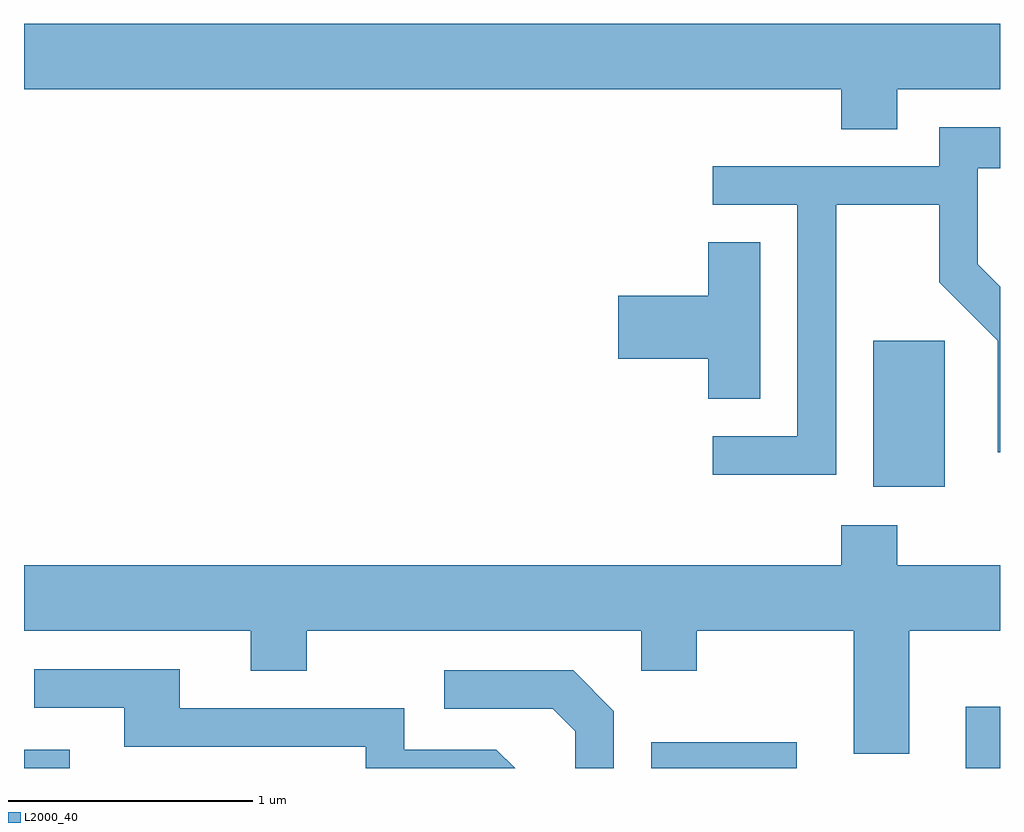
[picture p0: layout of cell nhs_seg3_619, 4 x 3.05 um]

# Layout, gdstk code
import gdstk
lib = gdstk.Library(unit=1e-6, precision=1e-09)
def R(c, l, rs):  # rectangles x0, y0, x1, y1
    for r in rs: c.add(gdstk.rectangle(r[:2], r[2:], *l))
def P(c, l, *ps):  # polygons
    for p in ps: c.add(gdstk.Polygon(p, *l))
L2000_40 = (2000, 40)

nhs_seg3_619 = lib.new_cell('nhs_seg3_619')
R(nhs_seg3_619, L2000_40, [(203.611,1129.892,203.799,1129.969), (206.181,1129.892,206.779,1129.999), (207.471,1129.892,207.611,1130.144), (207.091,1131.046,207.384,1131.644)])
P(nhs_seg3_619, L2000_40, [(207.189,1132.676),(207.611,1132.676),(207.611,1132.944),(203.611,1132.944),(203.611,1132.676),(206.961,1132.676),(206.961,1132.511),(207.189,1132.511)],
  [(206.939,1132.201),(207.361,1132.201),(207.361,1131.884),(207.601,1131.644),(207.601,1131.188),(207.611,1131.188),(207.611,1131.865),(207.519,1131.957),(207.519,1132.351),(207.611,1132.351),(207.611,1132.519),(207.361,1132.519),(207.361,1132.359),(206.433,1132.359),(206.433,1132.201),(206.781,1132.201),(206.781,1131.254),(206.433,1131.254),(206.433,1131.096),(206.939,1131.096)],
  [(206.629,1132.049),(206.416,1132.049),(206.416,1131.829),(206.046,1131.829),(206.046,1131.571),(206.416,1131.571),(206.416,1131.406),(206.629,1131.406)],
  [(207.239,1130.456),(207.611,1130.456),(207.611,1130.724),(207.189,1130.724),(207.189,1130.889),(206.961,1130.889),(206.961,1130.724),(203.611,1130.724),(203.611,1130.456),(204.541,1130.456),(204.541,1130.291),(204.769,1130.291),(204.769,1130.456),(206.141,1130.456),(206.141,1130.291),(206.369,1130.291),(206.369,1130.456),(207.011,1130.456),(207.011,1129.951),(207.239,1129.951)],
  [(205.547,1129.969),(205.169,1129.969),(205.169,1130.139),(204.249,1130.139),(204.249,1130.299),(203.653,1130.299),(203.653,1130.141),(204.021,1130.141),(204.021,1129.981),(205.011,1129.981),(205.011,1129.892),(205.624,1129.892)],
  [(206.029,1130.127),(205.862,1130.294),(205.333,1130.294),(205.333,1130.136),(205.779,1130.136),(205.871,1130.044),(205.871,1129.892),(206.029,1129.892)])

lib.write_gds('nhs_seg3_619.gds')
